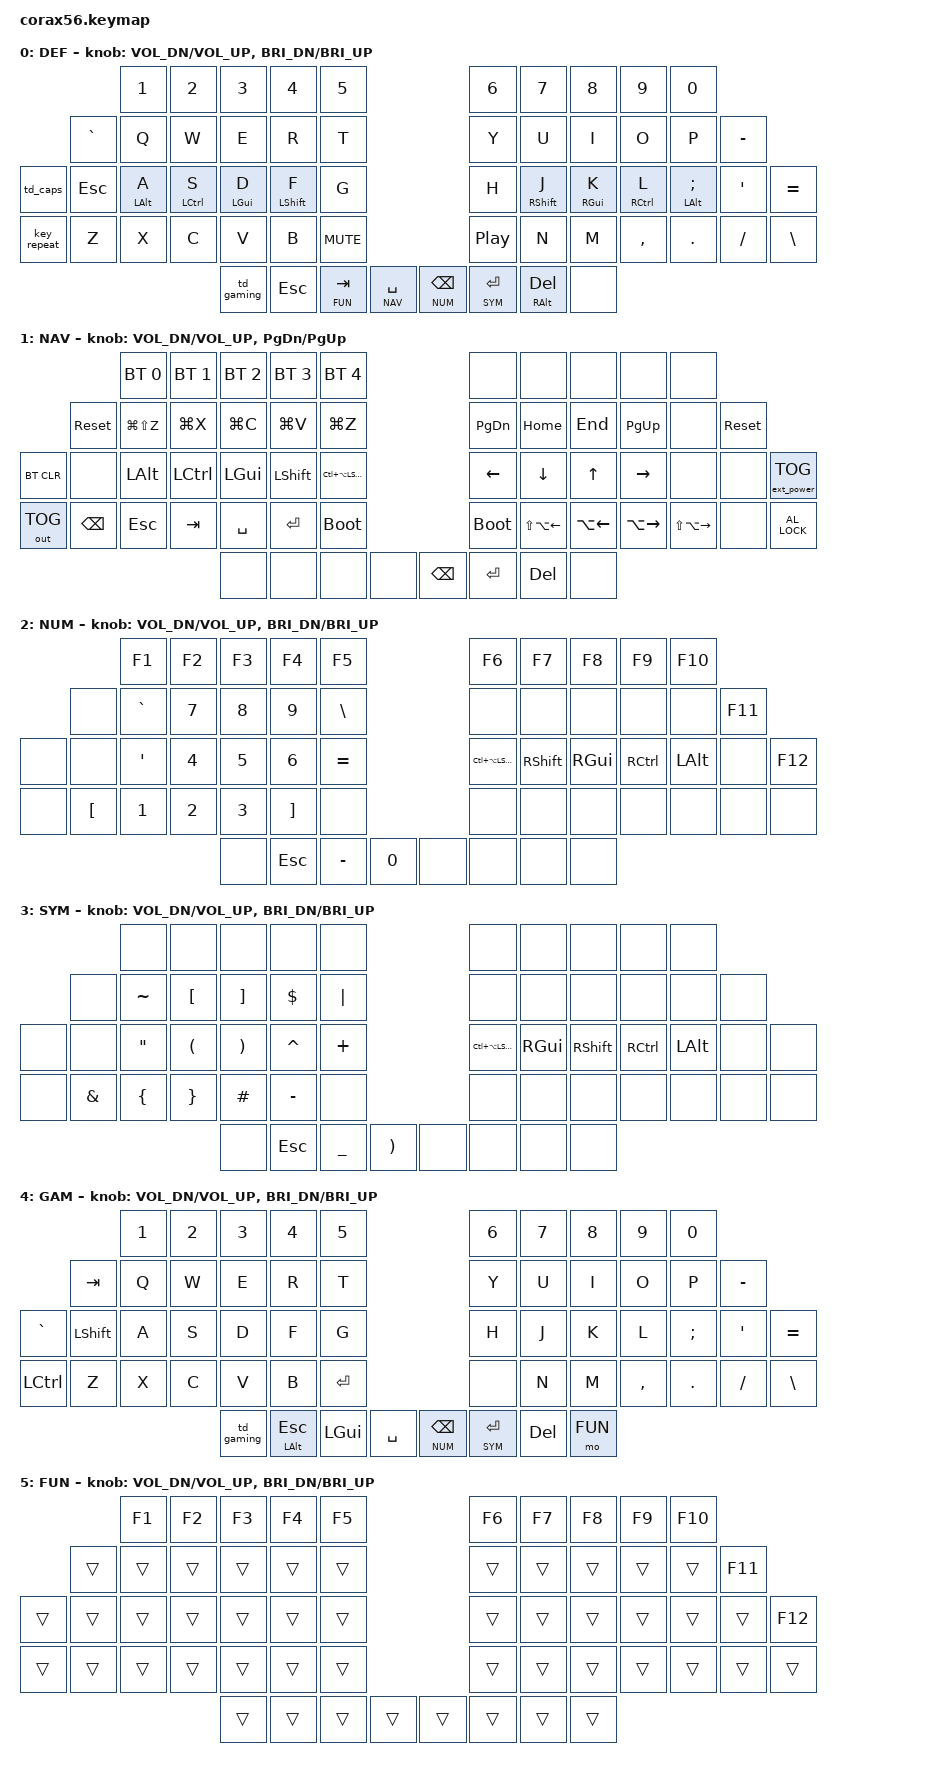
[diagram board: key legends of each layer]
#include <behaviors.dtsi>
#include <dt-bindings/zmk/keys.h>
#include <dt-bindings/zmk/bt.h>
#include <dt-bindings/zmk/outputs.h>
#include <dt-bindings/zmk/ext_power.h>

#define DEF     0
#define NAV     1
#define NUM     2
#define SYM     3
#define GAM     4
#define FUN     5

// Timing constants and Hyper/Meh keys
#define HYP LC(LA(LS(LGUI)))
#define MEH LC(LA(LSHFT))
#define COMBO_TIMEOUT 25
#define COMBO_PRIOR_IDLE 100
#define TAP_DANCE_TAPPING_TERM 250
#define HM_TAPPING_TERM 300
#define HM_TAPPING_TERM_FAST 200
#define HM_PRIOR_IDLE 100

// positional key values 
#define KEYS_L 0 1 2 3 4 10 11 12 13 14 15 22 23 24 25 26 27 28 36 37 38 39 40 41
#define KEYS_R 5 6 7 8 9 16 17 18 19 20 21 29 30 31 32 33 34 35 44 45 46 47 48 49
#define KEYS_T 50 51 52 53 54 55 56 57

// Caps word will continue to remain active after these keys
&caps_word {
  continue-list = <UNDERSCORE MINUS LS(MINUS) UP DOWN LEFT RIGHT BSPC DEL>;
};

/ {

 behaviors {

   // Homerow Mods allowing use of modifiers on the home row
    hm: homerow_mods {
      compatible = "zmk,behavior-hold-tap";
      label = "homerow_mods";
      #binding-cells = <2>;
      tapping-term-ms = <175>;
      quick-tap-ms = <200>;
      flavor = "tap-preferred";
      bindings = <&kp>, <&kp>;
    };

    hm_l: homerow_mods_left {
      compatible = "zmk,behavior-hold-tap";
      #binding-cells = <2>;
      bindings = <&kp>, <&kp>;
      flavor = "balanced";
      tapping-term-ms = <HM_TAPPING_TERM>;
      quick-tap-ms = <175>;
      require-prior-idle-ms = <HM_PRIOR_IDLE>;

      hold-trigger-key-positions = <KEYS_R KEYS_T>;
      hold-trigger-on-release;
    };

    hm_r: homerow_mods_right {
      compatible = "zmk,behavior-hold-tap";
      #binding-cells = <2>;
      bindings = <&kp>, <&kp>;

      flavor = "balanced";
      tapping-term-ms = <HM_TAPPING_TERM>;
      quick-tap-ms = <175>;
      require-prior-idle-ms = <HM_PRIOR_IDLE>;

      hold-trigger-key-positions = <KEYS_L KEYS_T>;
      hold-trigger-on-release;
    };

    hm_shift_l: hm_shift_l {
      compatible = "zmk,behavior-hold-tap";
      #binding-cells = <2>;
      bindings = <&kp>, <&kp>;

      flavor = "balanced";
      tapping-term-ms = <HM_TAPPING_TERM_FAST>;
      quick-tap-ms = <175>;
      require-prior-idle-ms = <HM_PRIOR_IDLE>;

      hold-trigger-key-positions = <KEYS_R KEYS_T>;
      /* hold-trigger-on-release; */
    };

    hm_shift_r: hm_shift_r {
      compatible = "zmk,behaviour-hold-tap";
      #binding-cells = <2>;
      bindings = <&kp>, <&kp>;

      flavor = "balanced";
      tapping-term-ms = <HM_TAPPING_TERM_FAST>;
      quick-tap-ms = <175>;
      require-prior-idle-ms = <HM_PRIOR_IDLE>;

      hold-trigger-key-positions = <KEYS_L KEYS_T>;
      /* hold-trigger-on-release; */
    };
          
    // Layers that are activated when holding a thumb row key
    trl: thumb_row_layer {
      compatible = "zmk,behavior-hold-tap";
      label = "thumb_row_layer";
      #binding-cells = <2>;
      tapping-term-ms = <200>;
      quick-tap-ms = <200>;
      flavor = "tap-preferred";
      bindings = <&mo>, <&kp>;
    };

    // Tap-dance allowing easy switch between mac default layer and gaming layer
    td_gaming: tap_dance_gaming {
      compatible = "zmk,behavior-tap-dance";
      label = "tap_dance_gaming";
      #binding-cells = <0>;
      tapping-term-ms = <TAP_DANCE_TAPPING_TERM>;
      bindings = <&to DEF>, <&to GAM>;
    };

    // Tap-dance allowing easy switch between capsword and capslock
    td_caps: tap_dance_capsword_capslock {
      compatible = "zmk,behavior-tap-dance";
      label = "tap_dance_caps_word_caps_lock";
      #binding-cells = <0>;
      tapping-term-ms = <TAP_DANCE_TAPPING_TERM>;
      bindings = <&caps_word>, <&kp CAPSLOCK>;
    };
  };

  combos {
    compatible = "zmk,combos";

    // Simultaneous W+E : Type (
    combo_left_parenthesis {
      timeout-ms = <COMBO_TIMEOUT>;
      require-prior-idle-ms = <COMBO_PRIOR_IDLE>;
      key-positions = <12 13>;
      layers = <DEF>;
      slow-release;
      bindings = <&kp LPAR>;
    };

    // Simultaneous E+R : Type )
    combo_right_parenthesis {
      timeout-ms = <COMBO_TIMEOUT>;
      require-prior-idle-ms = <COMBO_PRIOR_IDLE>;
      key-positions = <13 14>;
      layers = <DEF>;
      slow-release;
      bindings = <&kp RPAR>;
    };

    // Simultaneous U+I : Type {
    combo_left_brace {
      timeout-ms = <COMBO_TIMEOUT>;
      require-prior-idle-ms = <COMBO_PRIOR_IDLE>;
      key-positions = <17 18>;
      layers = <DEF>;
      slow-release;
      bindings = <&kp LBRC>;
    };

    // Simultaneous I+O : Type }
    combo_right_brace {
      timeout-ms = <COMBO_TIMEOUT>;
      require-prior-idle-ms = <COMBO_PRIOR_IDLE>;
      key-positions = <18 19>;
      layers = <DEF>;
      slow-release;
      bindings = <&kp RBRC>;
    };

    // Simultaneous m+, : Type [
    combo_left_bracket {
      timeout-ms = <COMBO_TIMEOUT>;
      require-prior-idle-ms = <COMBO_PRIOR_IDLE>;
      key-positions = <45 46>;
      layers = <DEF>;
      slow-release;
      bindings = <&kp LBKT>;
    };

    // Simultaneous ,+. : Type ]
    combo_right_bracket {
      timeout-ms = <COMBO_TIMEOUT>;
      require-prior-idle-ms = <COMBO_PRIOR_IDLE>;
      key-positions = <46 47>;
      layers = <DEF>;
      slow-release;
      bindings = <&kp RBKT>;
    };

    // Simultaneous q + e : Type ä
    combo_adiacritic {
      timeout-ms = <COMBO_TIMEOUT>;
      require-prior-idle-ms = <COMBO_PRIOR_IDLE>;
      key-positions = <11 24>;
      layers = <DEF>;
      bindings = <&kp RA(A)>;
    };

    // Simultaneous w + s : Type ß
    combo_eszett {
      timeout-ms = <COMBO_TIMEOUT>;
      require-prior-idle-ms = <COMBO_PRIOR_IDLE>;
      key-positions = <12 25>;
      layers = <DEF>;
      bindings = <&kp RA(S)>;
    };

    // Simultaneous u + j : Type ü
    combo_udiacritic {
      timeout-ms = <COMBO_TIMEOUT>;
      require-prior-idle-ms = <COMBO_PRIOR_IDLE>;
      key-positions = <17 30>;
      layers = <DEF>;
      bindings = <&kp RA(U)>;
    };

    // Simultaneous o + l : Type ö
    combo_odiacritic {
      timeout-ms = <COMBO_TIMEOUT>;
      require-prior-idle-ms = <COMBO_PRIOR_IDLE>;
      key-positions = <19 32>;
      layers = <DEF>;
      bindings = <&kp RA(O)>;
    };
  };

  keymap {
    compatible = "zmk,keymap";

    default_layer {
      label = "DEF";
      bindings = <
//                      ┌──────────────┬──────────────┬──────────────┬──────────────┬──────────────┐                              ┌──────────────┬──────────────┬──────────────┬──────────────┬──────────────┐
//                      │      1       │      2       │      3       │      4       │      5       │                              │      6       │      7       │      8       │      9       │      0       │
//               ┌──────┼──────────────┼──────────────┼──────────────┼──────────────┼──────────────┤                              ├──────────────┼──────────────┼──────────────┼──────────────┼──────────────┼───┐
//               │  `   │      Q       │      W       │      E       │      R       │      T       │                              │      Y       │      U       │      I       │      O       │      P       │ - │
//    ┌──────────┼──────┼──────────────┼──────────────┼──────────────┼──────────────┼──────────────┤                              ├──────────────┼──────────────┼──────────────┼──────────────┼──────────────┼───┼───┐
//    │ &td_caps │ esc  │ &hm_l lalt A │ &hm_l lctl S │ &hm_l lgui D │ &hm_l lsft F │      G       │                              │      H       │ &hm_r rsft J │ &hm_r rgui K │ &hm_r rctl L │ &hm_r lalt ; │ ' │ = │
//    └──────────┼──────┼──────────────┼──────────────┼──────────────┼──────────────┼──────────────┼──────────────┬───────────────┼──────────────┼──────────────┼──────────────┼──────────────┼──────────────┼───┼───┘
//               │ keyr │      Z       │      X       │      C       │      V       │      B       │     mute     │     play      │      N       │      M       │      ,       │      .       │      /       │ \ │
//               └──────┴──────────────┴──────────────┼──────────────┼──────────────┼──────────────┼──────────────┼───────────────┼──────────────┼──────────────┼──────────────┼──────────────┴──────────────┴───┘
//                                                    │  &td_gaming  │     esc      │ &trl FUN tab │ &trl NAV spc │ &trl NUM bspc │ &trl SYM ent │ &hm ralt del │              │
//                                                    └──────────────┴──────────────┴──────────────┴──────────────┴───────────────┴──────────────┴──────────────┴──────────────┘
                           &kp N1         &kp N2          &kp N3         &kp N4          &kp N5                                             &kp N6         &kp N7          &kp N8         &kp N9          &kp N0
             &kp GRAVE     &kp Q          &kp W           &kp E          &kp R           &kp T                                              &kp Y          &kp U           &kp I          &kp O           &kp P             &kp MINUS
  &td_caps   &kp ESC       &hm_l LALT A   &hm_l LCTRL S   &hm_l LGUI D   &hm_l LSHFT F   &kp G                                              &kp H          &hm_r RSHFT J   &hm_r RGUI K   &hm_r RCTRL L   &hm_r LALT SEMI   &kp SQT     &kp EQUAL
             &key_repeat   &kp Z          &kp X           &kp C          &kp V           &kp B          &kp C_MUTE       &kp C_PLAY_PAUSE   &kp N          &kp M           &kp COMMA      &kp DOT         &kp FSLH          &kp BSLH
                                                          &td_gaming     &kp ESC         &trl FUN TAB   &trl NAV SPACE   &trl NUM BSPC      &trl SYM RET   &hm RALT DEL    &none
      >;

      sensor-bindings = <&inc_dec_kp C_VOL_DN C_VOL_UP &inc_dec_kp C_BRI_DN C_BRI_UP>;
    };

    navigation_layer {
      label = "NAV";
      bindings = <
//                          ┌───────────────┬──────────┬──────────┬──────────┬──────────┐             ┌──────────────────┬────────────┬────────────┬──────────────────┬─────┐
//                          │   bt_sel 0    │ bt_sel 1 │ bt_sel 2 │ bt_sel 3 │ bt_sel 4 │             │                  │            │            │                  │     │
//             ┌────────────┼───────────────┼──────────┼──────────┼──────────┼──────────┤             ├──────────────────┼────────────┼────────────┼──────────────────┼─────┼────────────┐
//             │ &sys_reset │ lgui(lsft(Z)) │ lgui(X)  │ lgui(C)  │ lgui(V)  │ lgui(Z)  │             │       pgdn       │    home    │    end     │       pgup       │     │ &sys_reset │
//    ┌────────┼────────────┼───────────────┼──────────┼──────────┼──────────┼──────────┤             ├──────────────────┼────────────┼────────────┼──────────────────┼─────┼────────────┼───────────┐
//    │ bt_clr │            │     lalt      │   lctl   │   lgui   │   lsft   │   MEH    │             │       left       │    down    │     up     │       rght       │     │            │ epwr_ tog │
//    └────────┼────────────┼───────────────┼──────────┼──────────┼──────────┼──────────┼──────┬──────┼──────────────────┼────────────┼────────────┼──────────────────┼─────┼────────────┼───────────┘
//             │  out_ tog  │     bspc      │   esc    │   tab    │   spc    │   ent    │ boot │ boot │ lsft(lalt(left)) │ lalt(left) │ lalt(rght) │ lsft(lalt(rght)) │     │ term_lock  │
//             └────────────┴───────────────┴──────────┼──────────┼──────────┼──────────┼──────┼──────┼──────────────────┼────────────┼────────────┼──────────────────┴─────┴────────────┘
//                                                     │          │          │          │      │ bspc │       ent        │    del     │            │
//                                                     └──────────┴──────────┴──────────┴──────┴──────┴──────────────────┴────────────┴────────────┘
                              &bt BT_SEL 0    &bt BT_SEL 1   &bt BT_SEL 2   &bt BT_SEL 3   &bt BT_SEL 4                               &none              &none          &none           &none               &none
               &sys_reset     &kp LG(LS(Z))   &kp LG(X)      &kp LG(C)      &kp LG(V)      &kp LG(Z)                                  &kp PG_DN          &kp HOME       &kp END         &kp PG_UP           &none   &sys_reset
  &bt BT_CLR   &none          &kp LALT        &kp LCTRL      &kp LGUI       &kp LSHFT      &kp MEH                                    &kp LEFT           &kp DOWN       &kp UP          &kp RIGHT           &none   &none           &ext_power EP_TOG
               &out OUT_TOG   &kp BSPC        &kp ESC        &kp TAB        &kp SPACE      &kp RET        &bootloader   &bootloader   &kp LS(LA(LEFT))   &kp LA(LEFT)   &kp LA(RIGHT)   &kp LS(LA(RIGHT))   &none   &kp C_AL_LOCK
                                                             &none          &none          &none          &none         &kp BSPC      &kp RET            &kp DEL        &none
      >;

      sensor-bindings = <&inc_dec_kp C_VOL_DN C_VOL_UP &inc_dec_kp PG_DN PG_UP>;
    };

    number_layer {
      label = "NUM";
      bindings = <
//                ┌────┬────┬─────┬─────┬────┐           ┌─────┬──────┬──────┬──────┬──────┐
//                │ f1 │ f2 │ f3  │ f4  │ f5 │           │ f6  │  f7  │  f8  │  f9  │ f10  │
//          ┌─────┼────┼────┼─────┼─────┼────┤           ├─────┼──────┼──────┼──────┼──────┼─────┐
//          │     │ `  │ 7  │  8  │  9  │ \  │           │     │      │      │      │      │ f11 │
//    ┌─────┼─────┼────┼────┼─────┼─────┼────┤           ├─────┼──────┼──────┼──────┼──────┼─────┼─────┐
//    │     │     │ '  │ 4  │  5  │  6  │ =  │           │ MEH │ rsft │ rgui │ rctl │ lalt │     │ f12 │
//    └─────┼─────┼────┼────┼─────┼─────┼────┼─────┬─────┼─────┼──────┼──────┼──────┼──────┼─────┼─────┘
//          │     │ [  │ 1  │  2  │  3  │ ]  │     │     │     │      │      │      │      │     │
//          └─────┴────┴────┼─────┼─────┼────┼─────┼─────┼─────┼──────┼──────┼──────┴──────┴─────┘
//                          │     │ esc │ -  │  0  │     │     │      │      │
//                          └─────┴─────┴────┴─────┴─────┴─────┴──────┴──────┘
                  &kp F1      &kp F2   &kp F3   &kp F4    &kp F5                       &kp F6    &kp F7       &kp F8     &kp F9      &kp F10
          &none   &kp GRAVE   &kp N7   &kp N8   &kp N9    &kp BSLH                     &none     &none        &none      &none       &none      &kp F11
  &none   &none   &kp SQT     &kp N4   &kp N5   &kp N6    &kp EQUAL                    &kp MEH   &kp RSHIFT   &kp RGUI   &kp RCTRL   &kp LALT   &none     &kp F12
          &none   &kp LBKT    &kp N1   &kp N2   &kp N3    &kp RBKT    &none    &none   &none     &none        &none      &none       &none      &none
                                       &none    &kp ESC   &kp MINUS   &kp N0   &none   &none     &none        &none
      >;

      sensor-bindings = <&inc_dec_kp C_VOL_DN C_VOL_UP &inc_dec_kp C_BRI_DN C_BRI_UP>;
    };

    symbol_layer {
      label = "SYM";
      bindings = <
//                ┌─────┬─────┬─────┬─────┬─────┐           ┌─────┬──────┬──────┬──────┬──────┐
//                │     │     │     │     │     │           │     │      │      │      │      │
//          ┌─────┼─────┼─────┼─────┼─────┼─────┤           ├─────┼──────┼──────┼──────┼──────┼─────┐
//          │     │  ~  │  [  │  ]  │  $  │  |  │           │     │      │      │      │      │     │
//    ┌─────┼─────┼─────┼─────┼─────┼─────┼─────┤           ├─────┼──────┼──────┼──────┼──────┼─────┼─────┐
//    │     │     │  "  │  (  │  )  │  ^  │  +  │           │ MEH │ rgui │ rsft │ rctl │ lalt │     │     │
//    └─────┼─────┼─────┼─────┼─────┼─────┼─────┼─────┬─────┼─────┼──────┼──────┼──────┼──────┼─────┼─────┘
//          │     │  &  │  {  │  }  │  #  │  -  │     │     │     │      │      │      │      │     │
//          └─────┴─────┴─────┼─────┼─────┼─────┼─────┼─────┼─────┼──────┼──────┼──────┴──────┴─────┘
//                            │     │ esc │  _  │  )  │     │     │      │      │
//                            └─────┴─────┴─────┴─────┴─────┴─────┴──────┴──────┘
                  &none       &none      &none      &none        &none                          &none     &none      &none       &none       &none
          &none   &kp TILDE   &kp LBKT   &kp RBKT   &kp DOLLAR   &kp PIPE                       &none     &none      &none       &none       &none      &none
  &none   &none   &kp DQT     &kp LPAR   &kp RPAR   &kp CARET    &kp PLUS                       &kp MEH   &kp RGUI   &kp RSHFT   &kp RCTRL   &kp LALT   &none   &none
          &none   &kp AMPS    &kp LBRC   &kp RBRC   &kp HASH     &kp MINUS   &none      &none   &none     &none      &none       &none       &none      &none
                                         &none      &kp ESC      &kp UNDER   &kp RPAR   &none   &none     &none      &none
      >;

      sensor-bindings = <&inc_dec_kp C_VOL_DN C_VOL_UP &inc_dec_kp C_BRI_DN C_BRI_UP>;
    };

    gaming_layer {
      label = "GAM";
      bindings = <
//               ┌───┬───┬────────────┬──────────────┬──────┐                     ┌──────────────┬─────┬────────┬───┬───┐
//               │ 1 │ 2 │     3      │      4       │  5   │                     │      6       │  7  │   8    │ 9 │ 0 │
//        ┌──────┼───┼───┼────────────┼──────────────┼──────┤                     ├──────────────┼─────┼────────┼───┼───┼───┐
//        │ tab  │ Q │ W │     E      │      R       │  T   │                     │      Y       │  U  │   I    │ O │ P │ - │
//    ┌───┼──────┼───┼───┼────────────┼──────────────┼──────┤                     ├──────────────┼─────┼────────┼───┼───┼───┼───┐
//    │ ` │ lsft │ A │ S │     D      │      F       │  G   │                     │      H       │  J  │   K    │ L │ ; │ ' │ = │
//    └───┼──────┼───┼───┼────────────┼──────────────┼──────┼─────┬───────────────┼──────────────┼─────┼────────┼───┼───┼───┼───┘
//        │ lctl │ Z │ X │     C      │      V       │  B   │ ent │               │      N       │  M  │   ,    │ . │ / │ \ │
//        └──────┴───┴───┼────────────┼──────────────┼──────┼─────┼───────────────┼──────────────┼─────┼────────┼───┴───┴───┘
//                       │ &td_gaming │ &hm lalt esc │ lgui │ spc │ &trl NUM bspc │ &trl SYM ent │ del │ mo FUN │
//                       └────────────┴──────────────┴──────┴─────┴───────────────┴──────────────┴─────┴────────┘
                          &kp N1   &kp N2   &kp N3       &kp N4         &kp N5                                 &kp N6         &kp N7    &kp N8      &kp N9    &kp N0
              &kp TAB     &kp Q    &kp W    &kp E        &kp R          &kp T                                  &kp Y          &kp U     &kp I       &kp O     &kp P      &kp MINUS
  &kp GRAVE   &kp LSHFT   &kp A    &kp S    &kp D        &kp F          &kp G                                  &kp H          &kp J     &kp K       &kp L     &kp SEMI   &kp SQT     &kp EQUAL
              &kp LCTRL   &kp Z    &kp X    &kp C        &kp V          &kp B      &kp RET     &none           &kp N          &kp M     &kp COMMA   &kp DOT   &kp FSLH   &kp BSLH
                                            &td_gaming   &hm LALT ESC   &kp LGUI   &kp SPACE   &trl NUM BSPC   &trl SYM RET   &kp DEL   &mo FUN
      >;

      sensor-bindings = <&inc_dec_kp C_VOL_DN C_VOL_UP &inc_dec_kp C_BRI_DN C_BRI_UP>;
    };

    function_layer {
      label = "FUN";
      bindings = <
//                ┌─────┬─────┬─────┬─────┬─────┐           ┌─────┬─────┬─────┬─────┬─────┐
//                │ f1  │ f2  │ f3  │ f4  │ f5  │           │ f6  │ f7  │ f8  │ f9  │ f10 │
//          ┌─────┼─────┼─────┼─────┼─────┼─────┤           ├─────┼─────┼─────┼─────┼─────┼─────┐
//          │     │     │     │     │     │     │           │     │     │     │     │     │ f11 │
//    ┌─────┼─────┼─────┼─────┼─────┼─────┼─────┤           ├─────┼─────┼─────┼─────┼─────┼─────┼─────┐
//    │     │     │     │     │     │     │     │           │     │     │     │     │     │     │ f12 │
//    └─────┼─────┼─────┼─────┼─────┼─────┼─────┼─────┬─────┼─────┼─────┼─────┼─────┼─────┼─────┼─────┘
//          │     │     │     │     │     │     │     │     │     │     │     │     │     │     │
//          └─────┴─────┴─────┼─────┼─────┼─────┼─────┼─────┼─────┼─────┼─────┼─────┴─────┴─────┘
//                            │     │     │     │     │     │     │     │     │
//                            └─────┴─────┴─────┴─────┴─────┴─────┴─────┴─────┘
                    &kp F1   &kp F2   &kp F3   &kp F4   &kp F5                     &kp F6   &kp F7   &kp F8   &kp F9   &kp F10
           &trans   &trans   &trans   &trans   &trans   &trans                     &trans   &trans   &trans   &trans   &trans    &kp F11
  &trans   &trans   &trans   &trans   &trans   &trans   &trans                     &trans   &trans   &trans   &trans   &trans    &trans    &kp F12
           &trans   &trans   &trans   &trans   &trans   &trans   &trans   &trans   &trans   &trans   &trans   &trans   &trans    &trans
                                      &trans   &trans   &trans   &trans   &trans   &trans   &trans   &trans
      >;

      sensor-bindings = <&inc_dec_kp C_VOL_DN C_VOL_UP &inc_dec_kp C_BRI_DN C_BRI_UP>;
    };

  };
};
